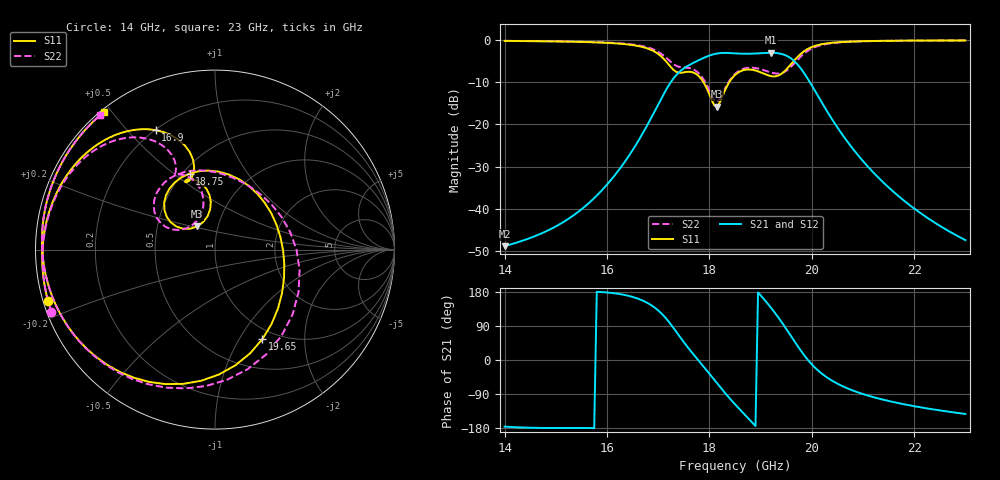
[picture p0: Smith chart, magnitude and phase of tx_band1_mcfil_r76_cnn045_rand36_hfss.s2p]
! Touchstone file exported from HFSS 3D Layout Design 2026.1.0
!  File:  D:/Work/SIM/ADS_AUTO_SIM/projects/RFSOC_RF/TX_Fillter.aedt
!  Generated:  08:19:36 AM Aug 31, 2026
!  Design:  TX_BAND1_MCFIL_R76_CNN045
!  Project:  TX_Fillter
# GHz S MA R 50.000000
! Terminal data exported
! Port[1] = Port1
! Port[2] = Port2
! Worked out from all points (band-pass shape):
!   181 points, 14 GHz to 23 GHz, reference 50 ohm
!   highest |S21| = -3.03 dB at 19.2 GHz (marker M1); lowest = -48.8 dB at 14 GHz (marker M2)
!   |S21| within 3 dB of the highest: 17.59 GHz to 19.74 GHz (2.144 GHz wide, 11.5 % of centre)
!   lowest |S11| = -15.8 dB at 18.15 GHz (marker M3), VSWR 1.39, Z = 39.7 + j10.5 ohm
!   |S11| at or under -10 dB: 17.88 GHz to 18.39 GHz (505.8 MHz wide, 2.79 % of centre)
!   |S22| runs from -14.6 to -0.1 dB; largest |S21 - S12| = 2.1e-14
!   S11 on the Smith chart (normalised r, x): 14 GHz: 0.01, -0.15; 16.9 GHz: 0.20, +0.60; 18.75 GHz: 0.54, +0.57; 19.65 GHz: 0.86, -1.26; 23 GHz: 0.01, +0.48
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14  0.9733 -163.0  0.003636 -175.9  0.003636 -175.9  0.9748 -159.2
15.5  0.9464 166.4  0.009902 -179.2  0.009902 -179.2  0.9506 171.6
16.3  0.8969 143.4  0.03293 172.8  0.03293 172.8  0.907 150.2
16.9  0.743 116.4  0.1318 141.3  0.1318 141.3  0.7742 126.1
17  0.682 110.9  0.1723 130.8  0.1723 130.8  0.7222 121.3
17.25  0.4751 104.1  0.3189 93.3  0.3189 93.3  0.5467 114.4
17.5  0.4125 113.8  0.4603 47.1  0.4603 47.1  0.4722 118.2
17.85  0.3396 97.8  0.5986 -11.4  0.5986 -11.4  0.3674 104.5
18.15  0.1629 127.6  0.6903 -61.4  0.6903 -61.4  0.1857 132.1
18.3  0.25 149.1  0.702 -86.1  0.702 -86.1  0.2623 154.8
18.5  0.3844 137.5  0.6932 -116.8  0.6932 -116.8  0.3961 148.3
18.75  0.4468 108.5  0.6855 -152.6  0.6855 -152.6  0.4679 126.9
19  0.4141 71.1  0.6975 170.8  0.6975 170.8  0.4503 101.3
19.2  0.373 32.6  0.7052 138.4  0.7052 138.4  0.4121 75.7
19.45  0.4165 -22.6  0.6705 92.4  0.6705 92.4  0.4129 26.3
19.65  0.5649 -62.3  0.5675 51.7  0.5675 51.7  0.522 -26.9
19.85  0.7345 -96.0  0.4047 12.8  0.4047 12.8  0.6907 -74.8
20  0.8235 -116.5  0.2892 -11.5  0.2892 -11.5  0.7908 -102.0
20.25  0.902 -141.8  0.1599 -41.6  0.1599 -41.6  0.8851 -133.6
20.55  0.9416 -162.4  0.08324 -65.9  0.08324 -65.9  0.9341 -157.6
21.5  0.9763 160.9  0.018 -108.1  0.018 -108.1  0.9756 162.8
23  0.985 129.1  0.004288 -142.4  0.004288 -142.4  0.9851 130.5
